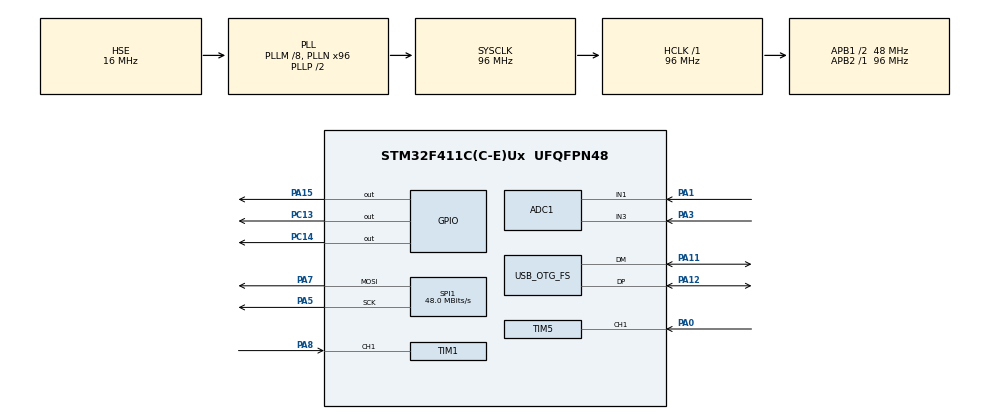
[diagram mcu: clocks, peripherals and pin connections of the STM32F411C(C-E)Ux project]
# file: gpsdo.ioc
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ADC1.Channel-0\#ChannelRegularConversion=ADC_CHANNEL_1
ADC1.Channel-1\#ChannelRegularConversion=ADC_CHANNEL_3
ADC1.ContinuousConvMode=ENABLE
ADC1.DMAContinuousRequests=ENABLE
ADC1.NbrOfConversion=2
ADC1.NbrOfConversionFlag=1
ADC1.Rank-0\#ChannelRegularConversion=1
ADC1.Rank-1\#ChannelRegularConversion=2
ADC1.SamplingTime-0\#ChannelRegularConversion=ADC_SAMPLETIME_3CYCLES
ADC1.SamplingTime-1\#ChannelRegularConversion=ADC_SAMPLETIME_3CYCLES
ADC1.ScanConvMode=ENABLE
ADC1.master=1
Dma.ADC1.0.Direction=DMA_PERIPH_TO_MEMORY
Dma.ADC1.0.FIFOMode=DMA_FIFOMODE_DISABLE
Dma.ADC1.0.Instance=DMA2_Stream0
Dma.ADC1.0.MemDataAlignment=DMA_MDATAALIGN_HALFWORD
Dma.ADC1.0.MemInc=DMA_MINC_ENABLE
Dma.ADC1.0.Mode=DMA_CIRCULAR
Dma.ADC1.0.PeriphDataAlignment=DMA_PDATAALIGN_HALFWORD
Dma.ADC1.0.PeriphInc=DMA_PINC_DISABLE
Dma.ADC1.0.Priority=DMA_PRIORITY_LOW
Dma.Request0=ADC1
FREERTOS.BinarySemaphores01=xPPSSemaphore,Static,xPPSSemaphoreControlBlock,Depleted
FREERTOS.Tasks01=tsk_controller,24,2048,controllerTask,As weak,NULL,Static,controllerTaskBuffer,controllerTaskControlBlock;tsk_usb,8,2048,usbTask,As weak,NULL,Static,usbTaskBuffer,usbTaskControlBlock;tsk_manager,8,256,mangerTask,As weak,NULL,Static,tsk_managerBuffer,tsk_managerControlBlock
FREERTOS.configCHECK_FOR_STACK_OVERFLOW=2
FREERTOS.configENABLE_FPU=1
FREERTOS.configUSE_MALLOC_FAILED_HOOK=1
FREERTOS.configUSE_NEWLIB_REENTRANT=1
Mcu.Family=STM32F4
Mcu.Name=STM32F411C(C-E)Ux
Mcu.Package=UFQFPN48
NVIC.DMA2_Stream0_IRQn=true\:10\:0\:true\:false\:true\:true\:false\:true\:true
NVIC.OTG_FS_IRQn=true\:7\:0\:true\:false\:true\:true\:false\:true\:true
NVIC.PriorityGroup=NVIC_PRIORITYGROUP_4
NVIC.TIM1_CC_IRQn=true\:5\:0\:true\:false\:true\:true\:true\:true\:true
NVIC.TIM4_IRQn=true\:15\:0\:false\:false\:true\:false\:false\:true\:true
NVIC.TIM5_IRQn=true\:5\:0\:false\:false\:true\:true\:true\:true\:true
NVIC.TimeBase=TIM4_IRQn
NVIC.TimeBaseIP=TIM4
PA0-WKUP.Signal=S_TIM5_CH1
PA1.Signal=ADCx_IN1
PA11.Mode=Device_Only
PA11.Signal=USB_OTG_FS_DM
PA12.Mode=Device_Only
PA12.Signal=USB_OTG_FS_DP
PA13.Mode=Serial_Wire
PA13.Signal=SYS_JTMS-SWDIO
PA14.Mode=Serial_Wire
PA14.Signal=SYS_JTCK-SWCLK
PA15.Signal=GPIO_Output
PA3.Signal=ADCx_IN3
PA5.Mode=TX_Only_Simplex_Unidirect_Master
PA5.Signal=SPI1_SCK
PA7.Mode=TX_Only_Simplex_Unidirect_Master
PA7.Signal=SPI1_MOSI
PA8.Signal=S_TIM1_CH1
PB3.Signal=SYS_JTDO-SWO
PC13-ANTI_TAMP.Signal=GPIO_Output
PC14-OSC32_IN.Signal=GPIO_Output
PH0\ -\ OSC_IN.Mode=HSE-External-Oscillator
PH0\ -\ OSC_IN.Signal=RCC_OSC_IN
PH1\ -\ OSC_OUT.Mode=HSE-External-Oscillator
PH1\ -\ OSC_OUT.Signal=RCC_OSC_OUT
ProjectManager.HeapSize=0x200
ProjectManager.StackSize=0x400
ProjectManager.TargetToolchain=STM32CubeIDE
RCC.48MHZClocksFreq_Value=48000000
RCC.AHBFreq_Value=96000000
RCC.APB1CLKDivider=RCC_HCLK_DIV2
RCC.APB1Freq_Value=48000000
RCC.APB1TimFreq_Value=96000000
RCC.APB2Freq_Value=96000000
RCC.APB2TimFreq_Value=96000000
RCC.CortexFreq_Value=96000000
RCC.HCLKFreq_Value=96000000
RCC.HSE_VALUE=16000000
RCC.HSI_VALUE=16000000
RCC.LSE_VALUE=32768
RCC.PLLM=8
RCC.PLLN=96
RCC.SYSCLKFreq_VALUE=96000000
RCC.SYSCLKSource=RCC_SYSCLKSOURCE_PLLCLK
RCC.VCOOutputFreq_Value=192000000
SH.ADCx_IN1.0=ADC1_IN1,IN1
SH.ADCx_IN3.0=ADC1_IN3,IN3
SH.S_TIM1_CH1.0=TIM1_CH1,TriggerSource_TI1FP1
SH.S_TIM5_CH1.0=TIM5_CH1,Input_Capture1_from_TI1
SPI1.CLKPhase=SPI_PHASE_1EDGE
SPI1.CalculateBaudRate=48.0 MBits/s
SPI1.Direction=SPI_DIRECTION_2LINES
SPI1.Mode=SPI_MODE_MASTER
SPI1.VirtualType=VM_MASTER
TIM1.TIM_MasterOutputTrigger=TIM_TRGO_UPDATE
TIM1.TIM_MasterSlaveMode=TIM_MASTERSLAVEMODE_ENABLE
TIM5.Channel-Input_Capture1_from_TI1=TIM_CHANNEL_1
USB_DEVICE.CLASS_NAME_FS=CDC
USB_DEVICE.LANGID_STRING=1031
USB_DEVICE.VirtualMode=Cdc
USB_DEVICE.VirtualModeFS=Cdc_FS
USB_OTG_FS.VirtualMode=Device_Only
VP_FREERTOS_VS_CMSIS_V2.Mode=CMSIS_V2
VP_SYS_VS_tim4.Mode=TIM4
VP_TIM1_VS_ControllerModeClock.Mode=Clock Mode
VP_TIM2_VS_ClockSourceITR.Mode=TriggerSource_ITR0
VP_TIM2_VS_ControllerModeClock.Mode=Clock Mode
VP_TIM5_VS_ClockSourceINT.Mode=Internal
VP_USB_DEVICE_VS_USB_DEVICE_CDC_FS.Mode=CDC_FS
board=custom

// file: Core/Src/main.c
/* USER CODE BEGIN Header */
/**
 ******************************************************************************
 * @file           : main.c
 * @brief          : Main program body
 ******************************************************************************
 * @attention
 *
 * Copyright (c) 2025 STMicroelectronics.
 * All rights reserved.
 *
 * This software is licensed under terms that can be found in the LICENSE file
 * in the root directory of this software component.
 * If no LICENSE file comes with this software, it is provided AS-IS.
 *
 ******************************************************************************
 */
/* USER CODE END Header */
#include "main.h"
#include "cmsis_os.h"
#include "usb_device.h"

/* USER CODE BEGIN Includes */
#include "pps.h"
#include "usb.h"
#include "led.h"
#include "hal.h"
/* USER CODE END Includes */

typedef StaticTask_t osStaticThreadDef_t;
typedef StaticSemaphore_t osStaticSemaphoreDef_t;

ADC_HandleTypeDef hadc1;
DMA_HandleTypeDef hdma_adc1;

SPI_HandleTypeDef hspi1;

TIM_HandleTypeDef htim1;
TIM_HandleTypeDef htim2;
TIM_HandleTypeDef htim5;

/* Definitions for tsk_controller */
osThreadId_t tsk_controllerHandle;
uint32_t controllerTaskBuffer[ 2048 ];
osStaticThreadDef_t controllerTaskControlBlock;
const osThreadAttr_t tsk_controller_attributes = {
  .name = "tsk_controller",
  .cb_mem = &controllerTaskControlBlock,
  .cb_size = sizeof(controllerTaskControlBlock),
  .stack_mem = &controllerTaskBuffer[0],
  .stack_size = sizeof(controllerTaskBuffer),
  .priority = (osPriority_t) osPriorityNormal,
};
/* Definitions for tsk_usb */
osThreadId_t tsk_usbHandle;
uint32_t usbTaskBuffer[ 2048 ];
osStaticThreadDef_t usbTaskControlBlock;
const osThreadAttr_t tsk_usb_attributes = {
  .name = "tsk_usb",
  .cb_mem = &usbTaskControlBlock,
  .cb_size = sizeof(usbTaskControlBlock),
  .stack_mem = &usbTaskBuffer[0],
  .stack_size = sizeof(usbTaskBuffer),
  .priority = (osPriority_t) osPriorityLow,
};
/* Definitions for tsk_manager */
osThreadId_t tsk_managerHandle;
uint32_t tsk_managerBuffer[ 256 ];
osStaticThreadDef_t tsk_managerControlBlock;
const osThreadAttr_t tsk_manager_attributes = {
  .name = "tsk_manager",
  .cb_mem = &tsk_managerControlBlock,
  .cb_size = sizeof(tsk_managerControlBlock),
  .stack_mem = &tsk_managerBuffer[0],
  .stack_size = sizeof(tsk_managerBuffer),
  .priority = (osPriority_t) osPriorityLow,
};
/* Definitions for xPPSSemaphore */
osSemaphoreId_t xPPSSemaphoreHandle;
osStaticSemaphoreDef_t xPPSSemaphoreControlBlock;
const osSemaphoreAttr_t xPPSSemaphore_attributes = {
  .name = "xPPSSemaphore",
  .cb_mem = &xPPSSemaphoreControlBlock,
  .cb_size = sizeof(xPPSSemaphoreControlBlock),
};
/* USER CODE BEGIN PV */
/* Definitions for sem_IMUdataReceived */
/* USER CODE END PV */

void SystemClock_Config(void);
static void MX_GPIO_Init(void);
static void MX_DMA_Init(void);
static void MX_TIM1_Init(void);
static void MX_TIM5_Init(void);
static void MX_ADC1_Init(void);
static void MX_TIM2_Init(void);
static void MX_SPI1_Init(void);
void controllerTask(void *argument);
void usbTask(void *argument);
void mangerTask(void *argument);

/* USER CODE BEGIN PFP */
uint8_t hal_initialized = 0;
/* USER CODE END PFP */

/* USER CODE BEGIN 0 */
uint16_t adc_dma_buffer[2];  // CH1, CH3
/* USER CODE END 0 */

int main(void)
{

  /* MCU Configuration--------------------------------------------------------*/

  /* Reset of all peripherals, Initializes the Flash interface and the Systick. */
  HAL_Init();

  /* Configure the system clock */
  SystemClock_Config();

  /* Initialize all configured peripherals */
  MX_GPIO_Init();
  MX_DMA_Init();
  MX_TIM1_Init();
  MX_TIM5_Init();
  MX_ADC1_Init();
  MX_TIM2_Init();
  MX_SPI1_Init();
  /* USER CODE BEGIN 2 */
	usb_init();

	HAL_NVIC_DisableIRQ(DMA2_Stream0_IRQn);  // disable ADC1 DMA interrupt
	HAL_ADC_Start_DMA(&hadc1, (uint32_t*) adc_dma_buffer, 2);

	reset_led_orange();
	reset_led_red();

  /* USER CODE END 2 */

  /* Init scheduler */
  osKernelInitialize();

  /* Create the semaphores(s) */
  /* creation of xPPSSemaphore */
  xPPSSemaphoreHandle = osSemaphoreNew(1, 0, &xPPSSemaphore_attributes);

  /* Create the thread(s) */
  /* creation of tsk_controller */
  tsk_controllerHandle = osThreadNew(controllerTask, NULL, &tsk_controller_attributes);

  /* creation of tsk_usb */
  tsk_usbHandle = osThreadNew(usbTask, NULL, &tsk_usb_attributes);

  /* creation of tsk_manager */
  tsk_managerHandle = osThreadNew(mangerTask, NULL, &tsk_manager_attributes);

  /* Start scheduler */
  osKernelStart();

  /* We should never get here as control is now taken by the scheduler */

  /* Infinite loop */
	while (1) {

	}
}

void SystemClock_Config(void)
{
  RCC_OscInitTypeDef RCC_OscInitStruct = {0};
  RCC_ClkInitTypeDef RCC_ClkInitStruct = {0};

  /** Configure the main internal regulator output voltage
  */
  __HAL_RCC_PWR_CLK_ENABLE();
  __HAL_PWR_VOLTAGESCALING_CONFIG(PWR_REGULATOR_VOLTAGE_SCALE1);

  /** Initializes the RCC Oscillators according to the specified parameters
  * in the RCC_OscInitTypeDef structure.
  */
  RCC_OscInitStruct.OscillatorType = RCC_OSCILLATORTYPE_HSE;
  RCC_OscInitStruct.HSEState = RCC_HSE_ON;
  RCC_OscInitStruct.PLL.PLLState = RCC_PLL_ON;
  RCC_OscInitStruct.PLL.PLLSource = RCC_PLLSOURCE_HSE;
  RCC_OscInitStruct.PLL.PLLM = 8;
  RCC_OscInitStruct.PLL.PLLN = 96;
  RCC_OscInitStruct.PLL.PLLP = RCC_PLLP_DIV2;
  RCC_OscInitStruct.PLL.PLLQ = 4;
  if (HAL_RCC_OscConfig(&RCC_OscInitStruct) != HAL_OK)
  {
    Error_Handler();
  }

  /** Initializes the CPU, AHB and APB buses clocks
  */
  RCC_ClkInitStruct.ClockType = RCC_CLOCKTYPE_HCLK|RCC_CLOCKTYPE_SYSCLK
                              |RCC_CLOCKTYPE_PCLK1|RCC_CLOCKTYPE_PCLK2;
  RCC_ClkInitStruct.SYSCLKSource = RCC_SYSCLKSOURCE_PLLCLK;
  RCC_ClkInitStruct.AHBCLKDivider = RCC_SYSCLK_DIV1;
  RCC_ClkInitStruct.APB1CLKDivider = RCC_HCLK_DIV2;
  RCC_ClkInitStruct.APB2CLKDivider = RCC_HCLK_DIV1;

  if (HAL_RCC_ClockConfig(&RCC_ClkInitStruct, FLASH_LATENCY_3) != HAL_OK)
  {
    Error_Handler();
  }
}

static void MX_ADC1_Init(void)
{

  ADC_ChannelConfTypeDef sConfig = {0};

  /** Configure the global features of the ADC (Clock, Resolution, Data Alignment and number of conversion)
  */
  hadc1.Instance = ADC1;
  hadc1.Init.ClockPrescaler = ADC_CLOCK_SYNC_PCLK_DIV4;
  hadc1.Init.Resolution = ADC_RESOLUTION_12B;
  hadc1.Init.ScanConvMode = ENABLE;
  hadc1.Init.ContinuousConvMode = ENABLE;
  hadc1.Init.DiscontinuousConvMode = DISABLE;
  hadc1.Init.ExternalTrigConvEdge = ADC_EXTERNALTRIGCONVEDGE_NONE;
  hadc1.Init.ExternalTrigConv = ADC_SOFTWARE_START;
  hadc1.Init.DataAlign = ADC_DATAALIGN_RIGHT;
  hadc1.Init.NbrOfConversion = 2;
  hadc1.Init.DMAContinuousRequests = ENABLE;
  hadc1.Init.EOCSelection = ADC_EOC_SINGLE_CONV;
  if (HAL_ADC_Init(&hadc1) != HAL_OK)
  {
    Error_Handler();
  }

  /** Configure for the selected ADC regular channel its corresponding rank in the sequencer and its sample time.
  */
  sConfig.Channel = ADC_CHANNEL_1;
  sConfig.Rank = 1;
  sConfig.SamplingTime = ADC_SAMPLETIME_3CYCLES;
  if (HAL_ADC_ConfigChannel(&hadc1, &sConfig) != HAL_OK)
  {
    Error_Handler();
  }

  /** Configure for the selected ADC regular channel its corresponding rank in the sequencer and its sample time.
  */
  sConfig.Channel = ADC_CHANNEL_3;
  sConfig.Rank = 2;
  if (HAL_ADC_ConfigChannel(&hadc1, &sConfig) != HAL_OK)
  {
    Error_Handler();
  }

}

static void MX_SPI1_Init(void)
{

  /* SPI1 parameter configuration*/
  hspi1.Instance = SPI1;
  hspi1.Init.Mode = SPI_MODE_MASTER;
  hspi1.Init.Direction = SPI_DIRECTION_2LINES;
  hspi1.Init.DataSize = SPI_DATASIZE_8BIT;
  hspi1.Init.CLKPolarity = SPI_POLARITY_LOW;
  hspi1.Init.CLKPhase = SPI_PHASE_1EDGE;
  hspi1.Init.NSS = SPI_NSS_SOFT;
  hspi1.Init.BaudRatePrescaler = SPI_BAUDRATEPRESCALER_2;
  hspi1.Init.FirstBit = SPI_FIRSTBIT_MSB;
  hspi1.Init.TIMode = SPI_TIMODE_DISABLE;
  hspi1.Init.CRCCalculation = SPI_CRCCALCULATION_DISABLE;
  hspi1.Init.CRCPolynomial = 10;
  if (HAL_SPI_Init(&hspi1) != HAL_OK)
  {
    Error_Handler();
  }

}

static void MX_TIM1_Init(void)
{

  TIM_SlaveConfigTypeDef sSlaveConfig = {0};
  TIM_MasterConfigTypeDef sMasterConfig = {0};

  htim1.Instance = TIM1;
  htim1.Init.Prescaler = 0;
  htim1.Init.CounterMode = TIM_COUNTERMODE_UP;
  htim1.Init.Period = 65535;
  htim1.Init.ClockDivision = TIM_CLOCKDIVISION_DIV1;
  htim1.Init.RepetitionCounter = 0;
  htim1.Init.AutoReloadPreload = TIM_AUTORELOAD_PRELOAD_DISABLE;
  if (HAL_TIM_Base_Init(&htim1) != HAL_OK)
  {
    Error_Handler();
  }
  sSlaveConfig.SlaveMode = TIM_SLAVEMODE_EXTERNAL1;
  sSlaveConfig.InputTrigger = TIM_TS_TI1FP1;
  sSlaveConfig.TriggerPolarity = TIM_TRIGGERPOLARITY_RISING;
  sSlaveConfig.TriggerFilter = 0;
  if (HAL_TIM_SlaveConfigSynchro(&htim1, &sSlaveConfig) != HAL_OK)
  {
    Error_Handler();
  }
  sMasterConfig.MasterOutputTrigger = TIM_TRGO_UPDATE;
  sMasterConfig.MasterSlaveMode = TIM_MASTERSLAVEMODE_ENABLE;
  if (HAL_TIMEx_MasterConfigSynchronization(&htim1, &sMasterConfig) != HAL_OK)
  {
    Error_Handler();
  }

}

static void MX_TIM2_Init(void)
{

  TIM_SlaveConfigTypeDef sSlaveConfig = {0};
  TIM_MasterConfigTypeDef sMasterConfig = {0};

  htim2.Instance = TIM2;
  htim2.Init.Prescaler = 0;
  htim2.Init.CounterMode = TIM_COUNTERMODE_UP;
  htim2.Init.Period = 4294967295;
  htim2.Init.ClockDivision = TIM_CLOCKDIVISION_DIV1;
  htim2.Init.AutoReloadPreload = TIM_AUTORELOAD_PRELOAD_DISABLE;
  if (HAL_TIM_Base_Init(&htim2) != HAL_OK)
  {
    Error_Handler();
  }
  sSlaveConfig.SlaveMode = TIM_SLAVEMODE_EXTERNAL1;
  sSlaveConfig.InputTrigger = TIM_TS_ITR0;
  if (HAL_TIM_SlaveConfigSynchro(&htim2, &sSlaveConfig) != HAL_OK)
  {
    Error_Handler();
  }
  sMasterConfig.MasterOutputTrigger = TIM_TRGO_RESET;
  sMasterConfig.MasterSlaveMode = TIM_MASTERSLAVEMODE_DISABLE;
  if (HAL_TIMEx_MasterConfigSynchronization(&htim2, &sMasterConfig) != HAL_OK)
  {
    Error_Handler();
  }

}

static void MX_TIM5_Init(void)
{

  TIM_ClockConfigTypeDef sClockSourceConfig = {0};
  TIM_MasterConfigTypeDef sMasterConfig = {0};
  TIM_IC_InitTypeDef sConfigIC = {0};

  htim5.Instance = TIM5;
  htim5.Init.Prescaler = 0;
  htim5.Init.CounterMode = TIM_COUNTERMODE_UP;
  htim5.Init.Period = 4294967295;
  htim5.Init.ClockDivision = TIM_CLOCKDIVISION_DIV1;
  htim5.Init.AutoReloadPreload = TIM_AUTORELOAD_PRELOAD_DISABLE;
  if (HAL_TIM_Base_Init(&htim5) != HAL_OK)
  {
    Error_Handler();
  }
  sClockSourceConfig.ClockSource = TIM_CLOCKSOURCE_INTERNAL;
  if (HAL_TIM_ConfigClockSource(&htim5, &sClockSourceConfig) != HAL_OK)
  {
    Error_Handler();
  }
  if (HAL_TIM_IC_Init(&htim5) != HAL_OK)
  {
    Error_Handler();
  }
  sMasterConfig.MasterOutputTrigger = TIM_TRGO_RESET;
  sMasterConfig.MasterSlaveMode = TIM_MASTERSLAVEMODE_DISABLE;
  if (HAL_TIMEx_MasterConfigSynchronization(&htim5, &sMasterConfig) != HAL_OK)
  {
    Error_Handler();
  }
  sConfigIC.ICPolarity = TIM_INPUTCHANNELPOLARITY_RISING;
  sConfigIC.ICSelection = TIM_ICSELECTION_DIRECTTI;
  sConfigIC.ICPrescaler = TIM_ICPSC_DIV1;
  sConfigIC.ICFilter = 0;
  if (HAL_TIM_IC_ConfigChannel(&htim5, &sConfigIC, TIM_CHANNEL_1) != HAL_OK)
  {
    Error_Handler();
  }

}

static void MX_DMA_Init(void)
{

  /* DMA controller clock enable */
  __HAL_RCC_DMA2_CLK_ENABLE();

  /* DMA interrupt init */
  /* DMA2_Stream0_IRQn interrupt configuration */
  HAL_NVIC_SetPriority(DMA2_Stream0_IRQn, 10, 0);
  HAL_NVIC_EnableIRQ(DMA2_Stream0_IRQn);

}

static void MX_GPIO_Init(void)
{
  GPIO_InitTypeDef GPIO_InitStruct = {0};

  /* GPIO Ports Clock Enable */
  __HAL_RCC_GPIOC_CLK_ENABLE();
  __HAL_RCC_GPIOH_CLK_ENABLE();
  __HAL_RCC_GPIOA_CLK_ENABLE();
  __HAL_RCC_GPIOB_CLK_ENABLE();

  /*Configure GPIO pin Output Level */
  HAL_GPIO_WritePin(GPIOC, GPIO_PIN_13|GPIO_PIN_14, GPIO_PIN_RESET);

  /*Configure GPIO pin Output Level */
  HAL_GPIO_WritePin(GPIOA, GPIO_PIN_15, GPIO_PIN_RESET);

  /*Configure GPIO pins : PC13 PC14 */
  GPIO_InitStruct.Pin = GPIO_PIN_13|GPIO_PIN_14;
  GPIO_InitStruct.Mode = GPIO_MODE_OUTPUT_PP;
  GPIO_InitStruct.Pull = GPIO_NOPULL;
  GPIO_InitStruct.Speed = GPIO_SPEED_FREQ_LOW;
  HAL_GPIO_Init(GPIOC, &GPIO_InitStruct);

  /*Configure GPIO pin : PA15 */
  GPIO_InitStruct.Pin = GPIO_PIN_15;
  GPIO_InitStruct.Mode = GPIO_MODE_OUTPUT_PP;
  GPIO_InitStruct.Pull = GPIO_NOPULL;
  GPIO_InitStruct.Speed = GPIO_SPEED_FREQ_LOW;
  HAL_GPIO_Init(GPIOA, &GPIO_InitStruct);

  /* USER CODE BEGIN MX_GPIO_Init_2 */
	HAL_GPIO_WritePin(GPIOA, GPIO_PIN_15, GPIO_PIN_SET);
  /* USER CODE END MX_GPIO_Init_2 */
}

__weak void controllerTask(void *argument)
{
  /* init code for USB_DEVICE */
  MX_USB_DEVICE_Init();
	for (;;) {
		osDelay(1);
	}
}

__weak void usbTask(void *argument)
{
	for (;;) {
		osDelay(1);
	}
}

__weak void mangerTask(void *argument)
{
	for (;;) {
		osDelay(1);
	}
}

void HAL_TIM_PeriodElapsedCallback(TIM_HandleTypeDef *htim)
{
  if (htim->Instance == TIM4)
  {
    HAL_IncTick();
  }
}

void Error_Handler(void)
{
	__disable_irq();
	while (1) {
	}
}

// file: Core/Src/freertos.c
/* USER CODE BEGIN Header */
/**
  ******************************************************************************
  * File Name          : freertos.c
  * Description        : Code for freertos applications
  ******************************************************************************
  * @attention
  *
  * Copyright (c) 2025 STMicroelectronics.
  * All rights reserved.
  *
  * This software is licensed under terms that can be found in the LICENSE file
  * in the root directory of this software component.
  * If no LICENSE file comes with this software, it is provided AS-IS.
  *
  ******************************************************************************
  */
/* USER CODE END Header */

#include "FreeRTOS.h"
#include "task.h"
#include "main.h"

/* Hook prototypes */
void vApplicationStackOverflowHook(xTaskHandle xTask, signed char *pcTaskName);
void vApplicationMallocFailedHook(void);

/* USER CODE BEGIN 4 */
void vApplicationStackOverflowHook(xTaskHandle xTask, signed char *pcTaskName)
{
    volatile char *taskName = pcTaskName; // for debugging
    taskDISABLE_INTERRUPTS();
	__asm("BKPT #0");
   /* Run time stack overflow checking is performed if
   configCHECK_FOR_STACK_OVERFLOW is defined to 1 or 2. This hook function is
   called if a stack overflow is detected. */
}
/* USER CODE END 4 */

/* USER CODE BEGIN 5 */
void vApplicationMallocFailedHook(void)
{
	__asm("BKPT #0");
	while(1);
   /* vApplicationMallocFailedHook() will only be called if
   configUSE_MALLOC_FAILED_HOOK is set to 1 in FreeRTOSConfig.h. It is a hook
   function that will get called if a call to pvPortMalloc() fails.
   pvPortMalloc() is called internally by the kernel whenever a task, queue,
   timer or semaphore is created. It is also called by various parts of the
   demo application. If heap_1.c or heap_2.c are used, then the size of the
   heap available to pvPortMalloc() is defined by configTOTAL_HEAP_SIZE in
   FreeRTOSConfig.h, and the xPortGetFreeHeapSize() API function can be used
   to query the size of free heap space that remains (although it does not
   provide information on how the remaining heap might be fragmented). */
}
/* USER CODE END 5 */
